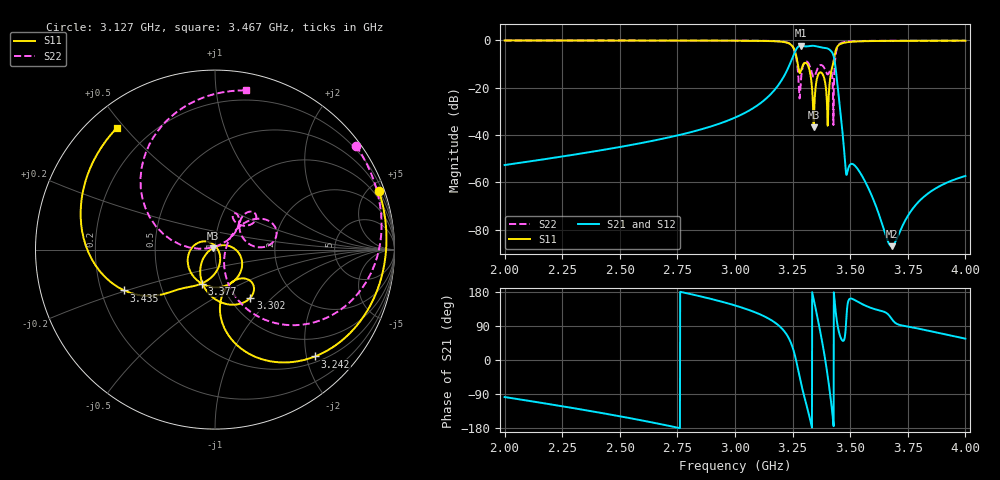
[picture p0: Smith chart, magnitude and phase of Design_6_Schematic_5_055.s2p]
! AWR Design Environment (8316) Fri May 05 02:08:06 2017
! Document = 'Schematic 5'
! nPorts: 2, nXvals: 2001
! Variable c = 0.55
# HZ S DB R 50
!Freq DBS11 AngS11 DBS21 AngS21 DBS12 AngS12 DBS22 AngS22
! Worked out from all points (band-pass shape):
!   2001 points, 2 GHz to 4 GHz, reference 50 ohm
!   highest |S21| = -2.28 dB at 3.285 GHz (marker M1); lowest = -87.0 dB at 3.68 GHz (marker M2)
!   |S21| within 3 dB of the highest: 3.258 GHz to 3.422 GHz (164 MHz wide, 4.91 % of centre)
!   lowest |S11| = -36.8 dB at 3.341 GHz (marker M3), VSWR 1.03, Z = 48.8 + j0.797 ohm
!   |S11| at or under -10 dB: 3.272 GHz to 3.298 GHz (25.02 MHz wide, 0.762 % of centre); 3.313 GHz to 3.425 GHz (112.5 MHz wide, 3.34 % of centre)
!   |S22| runs from -35.8 to -0.1 dB; largest |S21 - S12| = 4.8e-07
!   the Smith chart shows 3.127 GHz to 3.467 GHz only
!   S11 on the Smith chart (normalised r, x): 3.127 GHz: 0.53, +5.77; 3.242 GHz: 0.61, -2.16; 3.302 GHz: 1.24, -0.75; 3.377 GHz: 0.81, -0.32; 3.435 GHz: 0.30, -0.20; 3.467 GHz: 0.08, +0.48
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2e9  -0.06 172.0  -52.71 -97.7  -52.71 -97.7  -0.06 173.2
2.334e9  -0.07 138.5  -47.80 -130.7  -47.80 -130.7  -0.07 140.9
2.667e9  -0.10 100.3  -41.97 -168.0  -41.97 -168.0  -0.09 105.0
3e9  -0.16 49.9  -32.66 144.0  -32.66 144.0  -0.13 60.8
3.127e9  -0.26 19.5  -25.29 115.3  -25.29 115.3  -0.21 36.4
3.242e9  -1.78 -46.9  -9.16 46.5  -9.16 46.5  -1.72 -19.2
3.268e9  -7.55 -84.0  -3.45 -8.8  -3.45 -8.8  -8.58 -61.9
3.285e9  -13.27 -47.8  -2.28 -57.5  -2.28 -57.5  -17.96 40.9
3.302e9  -9.56 -53.7  -2.53 -99.6  -2.53 -99.6  -9.30 27.3
3.334e9  -19.74 -136.2  -2.31 -178.3  -2.31 -178.3  -13.84 7.0
3.341e9  -36.76 145.8  -2.32 162.0  -2.32 162.0  -15.47 23.7
3.36e9  -14.76 -36.0  -2.71 105.8  -2.71 105.8  -11.67 50.1
3.377e9  -13.85 -111.2  -3.07 52.3  -3.07 52.3  -10.51 39.8
3.393e9  -18.93 165.1  -3.25 -4.6  -3.25 -4.6  -12.88 36.2
3.409e9  -20.06 -78.2  -3.85 -71.9  -3.85 -71.9  -13.44 62.4
3.435e9  -5.11 -155.8  -10.44 139.6  -10.44 139.6  -7.82 153.6
3.467e9  -1.20 128.7  -39.29 50.8  -39.29 50.8  -0.88 79.2
3.486e9  -0.83 106.4  -56.46 133.1  -56.46 133.1  -0.55 64.1
3.536e9  -0.46 71.9  -54.87 152.7  -54.87 152.7  -0.31 42.3
3.667e9  -0.24 28.3  -85.67 119.0  -85.67 119.0  -0.19 12.5
3.68e9  -0.23 25.3  -86.98 108.6  -86.98 108.6  -0.19 10.2
4e9  -0.17 -29.3  -57.31 56.3  -57.31 56.3  -0.16 -35.3
